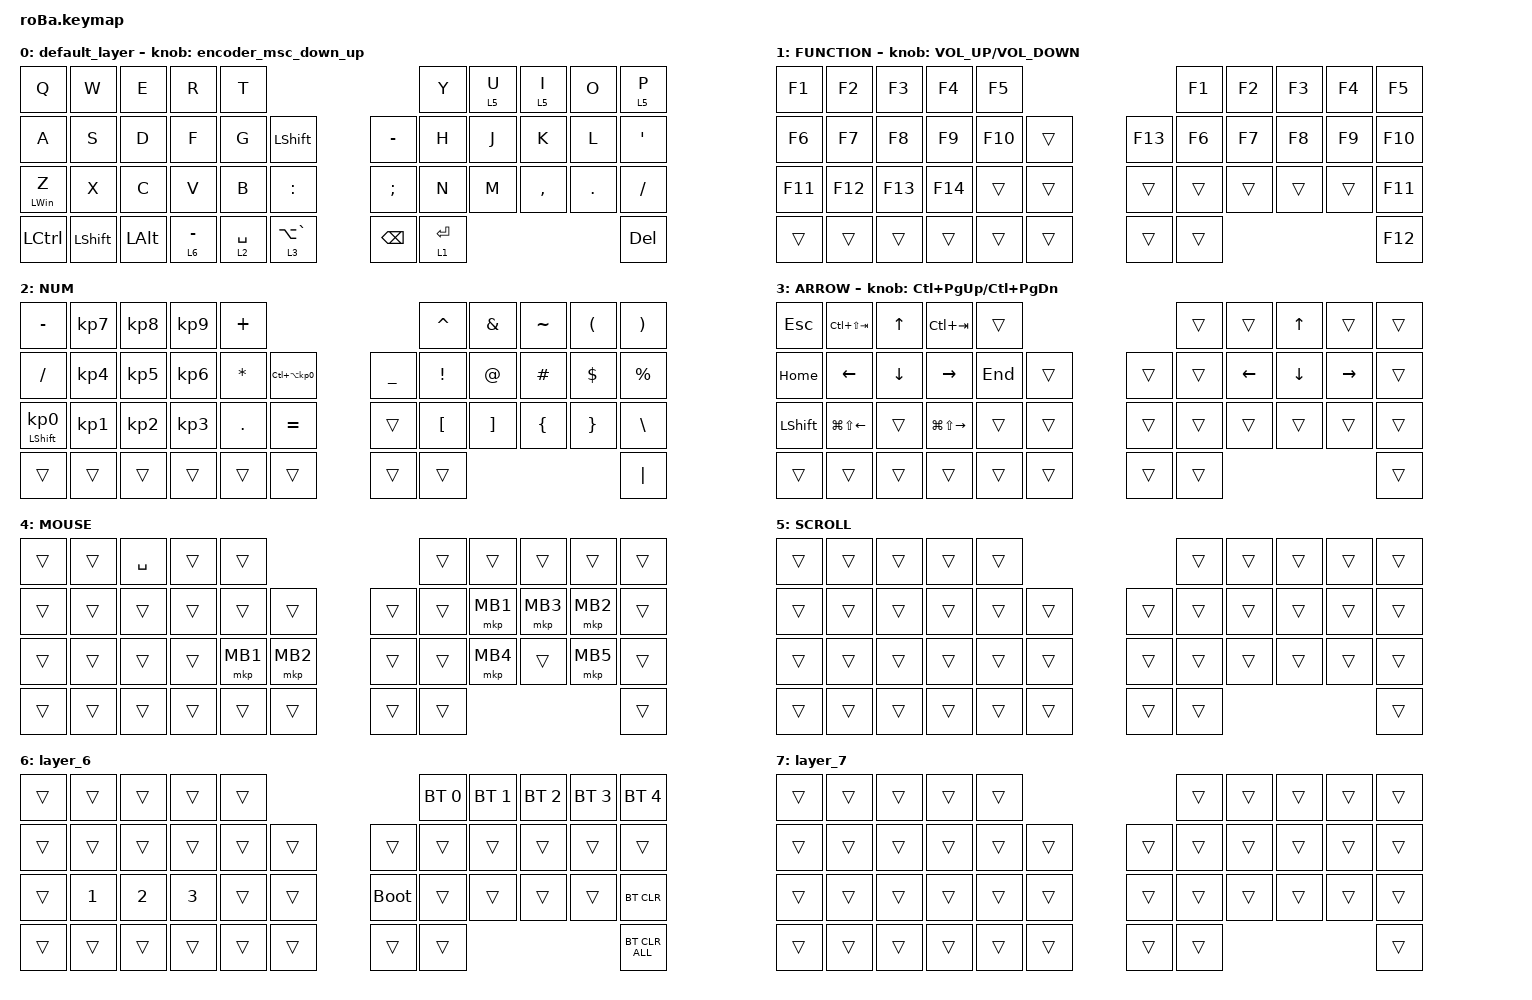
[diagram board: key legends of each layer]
#include <input/processors.dtsi>
#include <behaviors.dtsi>
#include <dt-bindings/zmk/bt.h>
#include <dt-bindings/zmk/keys.h>
#include <dt-bindings/zmk/pointing.h>

#define ZMK_POINTING_DEFAULT_SCRL_VAL 80

&mt {
    flavor = "balanced";
    quick-tap-ms = <0>;
};

&trackball {
    automouse-layer = <4>;
    scroll-layers = <5>;

    // arrows {
    //     layers = <3>;
    //     bindings =
    //         <&kp RIGHT_ARROW>,
    //         <&kp LEFT_ARROW>,
    //         <&kp UP_ARROW>,
    //         <&kp DOWN_ARROW>;
    //     tick = <10>;
    //     wait-ms = <5>;
    //     tap-ms = <5>;
    // };
};

/ {
    combos {
        compatible = "zmk,combos";

        tab {
            bindings = <&kp TAB>;
            key-positions = <11 12>;
        };

        shift_tab {
            bindings = <&kp LS(TAB)>;
            key-positions = <12 13>;
        };

        muhennkann {
            bindings = <&to_layer_0 INT_MUHENKAN>;
            key-positions = <11 10>;
        };

        double_quotation {
            bindings = <&kp DOUBLE_QUOTES>;
            key-positions = <20 21>;
        };

        eq {
            bindings = <&kp EQUAL>;
            key-positions = <24 25>;
        };
    };

    macros {
        to_layer_0: to_layer_0 {
            compatible = "zmk,behavior-macro-one-param";
            #binding-cells = <1>;
            bindings = <&to 0 &macro_param_1to1 &kp MACRO_PLACEHOLDER>;
            label = "TO_LAYER_0";
        };
    };

    behaviors {
        lt_to_layer_0: lt_to_layer_0 {
            compatible = "zmk,behavior-hold-tap";
            label = "LAYER_TAP_TO_0";
            bindings = <&mo>, <&to_layer_0>;

            #binding-cells = <2>;
            tapping-term-ms = <200>;

            encoder_msc_down_up: encoder_msc_down_up {
                compatible = "zmk,behavior-sensor-rotate";
                label = "ENCODER_MSC_DOWN_UP";
                #sensor-binding-cells = <0>;
                bindings = <&msc SCRL_DOWN>, <&msc SCRL_UP>;

                tap-ms = <20>;
            };
        };
    };

    keymap {
        compatible = "zmk,keymap";

        default_layer {
            bindings = <
&kp Q       &kp W           &kp E         &kp R                   &kp T                                                       &kp Y        &lt 5 U  &lt 5 I    &kp O    &lt 5 P
&kp A       &kp S           &kp D         &kp F                   &kp G        &kp LEFT_SHIFT                  &kp MINUS      &kp H        &kp J    &kp K      &kp L    &kp SQT
&mt LWIN Z  &kp X           &kp C         &kp V                   &kp B        &kp COLON                       &kp SEMICOLON  &kp N        &kp M    &kp COMMA  &kp DOT  &kp SLASH
&kp LCTRL   &kp LEFT_SHIFT  &kp LEFT_ALT  &lt_to_layer_0 6 MINUS  &lt 2 SPACE  &lt_to_layer_0 3 LA(GRAVE)      &kp BACKSPACE  &lt 1 ENTER                               &kp DEL
            >;

            sensor-bindings = <&encoder_msc_down_up>;
        };

        FUNCTION {
            bindings = <
&kp F1   &kp F2   &kp F3   &kp F4   &kp F5                        &kp F1  &kp F2  &kp F3  &kp F4  &kp F5
&kp F6   &kp F7   &kp F8   &kp F9   &kp F10  &trans      &kp F13  &kp F6  &kp F7  &kp F8  &kp F9  &kp F10
&kp F11  &kp F12  &kp F13  &kp F14  &trans   &trans      &trans   &trans  &trans  &trans  &trans  &kp F11
&trans   &trans   &trans   &trans   &trans   &trans      &trans   &trans                          &kp F12
            >;

            sensor-bindings = <&inc_dec_kp C_VOL_UP C_VOLUME_DOWN>;
        };

        NUM {
            bindings = <
&kp MINUS                   &kp KP_NUMBER_7  &kp KP_NUMBER_8  &kp KP_NUMBER_9  &kp PLUS                                                   &kp CARET         &kp AMPERSAND      &kp TILDE       &kp LEFT_PARENTHESIS  &kp RIGHT_PARENTHESIS
&kp SLASH                   &kp KP_NUMBER_4  &kp KP_NUMBER_5  &kp KP_NUMBER_6  &kp ASTERISK  &kp LC(LA(KP_NUMBER_0))      &kp UNDERSCORE  &kp EXCLAMATION   &kp AT_SIGN        &kp HASH        &kp DOLLAR            &kp PERCENT
&mt LEFT_SHIFT KP_NUMBER_0  &kp KP_NUMBER_1  &kp KP_NUMBER_2  &kp KP_NUMBER_3  &kp PERIOD    &kp EQUAL                    &trans          &kp LEFT_BRACKET  &kp RIGHT_BRACKET  &kp LEFT_BRACE  &kp RIGHT_BRACE       &kp BACKSLASH
&trans                      &trans           &trans           &trans           &trans        &trans                       &trans          &trans                                                                     &kp PIPE
            >;
        };

        ARROW {
            bindings = <
&kp ESCAPE      &kp LC(LS(TAB))         &kp UP_ARROW    &kp LC(TAB)              &trans                       &trans  &trans    &kp UP_ARROW  &trans     &trans
&kp HOME        &kp LEFT_ARROW          &kp DOWN_ARROW  &kp RIGHT_ARROW          &kp END  &trans      &trans  &trans  &kp LEFT  &kp DOWN      &kp RIGHT  &trans
&kp LEFT_SHIFT  &kp LG(LS(LEFT_ARROW))  &trans          &kp LG(LS(RIGHT_ARROW))  &trans   &trans      &trans  &trans  &trans    &trans        &trans     &trans
&trans          &trans                  &trans          &trans                   &trans   &trans      &trans  &trans                                     &trans
            >;

            sensor-bindings = <&inc_dec_kp LC(PAGE_UP) LC(PAGE_DOWN)>;
        };

        MOUSE {
            bindings = <
&trans  &trans  &kp SPACE  &trans  &trans                          &trans  &trans    &trans    &trans    &trans
&trans  &trans  &trans     &trans  &trans    &trans        &trans  &trans  &mkp MB1  &mkp MB3  &mkp MB2  &trans
&trans  &trans  &trans     &trans  &mkp MB1  &mkp MB2      &trans  &trans  &mkp MB4  &trans    &mkp MB5  &trans
&trans  &trans  &trans     &trans  &trans    &trans        &trans  &trans                                &trans
            >;
        };

        SCROLL {
            bindings = <
&trans  &trans  &trans  &trans  &trans                      &trans  &trans  &trans  &trans  &trans
&trans  &trans  &trans  &trans  &trans  &trans      &trans  &trans  &trans  &trans  &trans  &trans
&trans  &trans  &trans  &trans  &trans  &trans      &trans  &trans  &trans  &trans  &trans  &trans
&trans  &trans  &trans  &trans  &trans  &trans      &trans  &trans                          &trans
            >;
        };

        layer_6 {
            bindings = <
&trans  &trans        &trans        &trans        &trans                           &bt BT_SEL 0  &bt BT_SEL 1  &bt BT_SEL 2  &bt BT_SEL 3  &bt BT_SEL 4
&trans  &trans        &trans        &trans        &trans  &trans      &trans       &trans        &trans        &trans        &trans        &trans
&trans  &kp NUMBER_1  &kp NUMBER_2  &kp NUMBER_3  &trans  &trans      &bootloader  &trans        &trans        &trans        &trans        &bt BT_CLR
&trans  &trans        &trans        &trans        &trans  &trans      &trans       &trans                                                  &bt BT_CLR_ALL
            >;
        };

        layer_7 {
            bindings = <
&trans  &trans  &trans  &trans  &trans                      &trans  &trans  &trans  &trans  &trans
&trans  &trans  &trans  &trans  &trans  &trans      &trans  &trans  &trans  &trans  &trans  &trans
&trans  &trans  &trans  &trans  &trans  &trans      &trans  &trans  &trans  &trans  &trans  &trans
&trans  &trans  &trans  &trans  &trans  &trans      &trans  &trans                          &trans
            >;
        };
    };
};

// 1. マウスクリック（キーコード &mkp）に連動させる設定

&mkp_input_listener { input-processors = <&zip_temp_layer 4 400>; };

// 2. トラックボールの動きに連動させる設定
// ※roBaのトラックボール側（通常は右手側: trackball_listener または tb_right_listener）に適用します

&trackball_listener { input-processors = <&zip_temp_layer 4 400>; };
